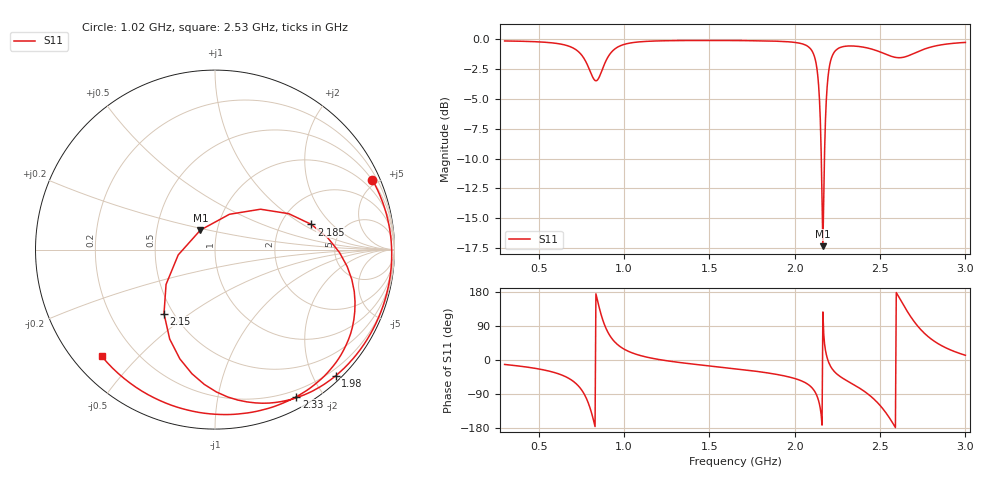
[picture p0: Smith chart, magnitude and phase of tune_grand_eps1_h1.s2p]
! grand-style spiral alone, coupling slab eps 1, 1 mm over the board
! simulated by sim/fixtures_fdtd.py (S12 = S21, S22 not computed)
# HZ S RI R 50
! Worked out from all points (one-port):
!   541 points, 300 MHz to 3 GHz, reference 50 ohm
!   lowest |S11| = -17.3 dB at 2.165 GHz (marker M1), VSWR 1.31, Z = 41.6 + j9.21 ohm
!   |S11| at or under -10 dB: 2.156 GHz to 2.174 GHz (18.66 MHz wide, 0.862 % of centre)
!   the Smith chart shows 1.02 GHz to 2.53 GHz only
!   S11 on the Smith chart (normalised r, x): 1.02 GHz: 0.48, +4.66; 1.98 GHz: 0.09, -2.34; 2.15 GHz: 0.45, -0.40; 2.185 GHz: 2.96, +1.20; 2.33 GHz: 0.13, -1.69; 2.53 GHz: 0.08, -0.39
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3e8  0.9624 -0.1998  0 0  0 0  0 0
6.15e8  0.7713 -0.5674  0 0  0 0  0 0
7.5e8  0.1752 -0.8423  0 0  0 0  0 0
7.95e8  -0.3661 -0.6569  0 0  0 0  0 0
8.35e8  -0.6666 0.0617  0 0  0 0  0 0
8.95e8  0.1047 0.8081  0 0  0 0  0 0
1.02e9  0.8758 0.3901  0 0  0 0  0 0
1.2e9  0.983 0.0279  0 0  0 0  0 0
1.65e9  0.9083 -0.3854  0 0  0 0  0 0
1.98e9  0.672 -0.7031  0 0  0 0  0 0
2.1e9  0.2647 -0.856  0 0  0 0  0 0
2.15e9  -0.2842 -0.3572  0 0  0 0  0 0
2.165e9  -0.0813 0.1088  0 0  0 0  0 0
2.185e9  0.5372 0.1402  0 0  0 0  0 0
2.22e9  0.7788 -0.3436  0 0  0 0  0 0
2.33e9  0.454 -0.8193  0 0  0 0  0 0
2.53e9  -0.6305 -0.5949  0 0  0 0  0 0
2.55e9  -0.7365 -0.4356  0 0  0 0  0 0
2.62e9  -0.778 0.3075  0 0  0 0  0 0
2.71e9  -0.0819 0.8755  0 0  0 0  0 0
2.83e9  0.6532 0.6738  0 0  0 0  0 0
3e9  0.9464 0.2085  0 0  0 0  0 0
